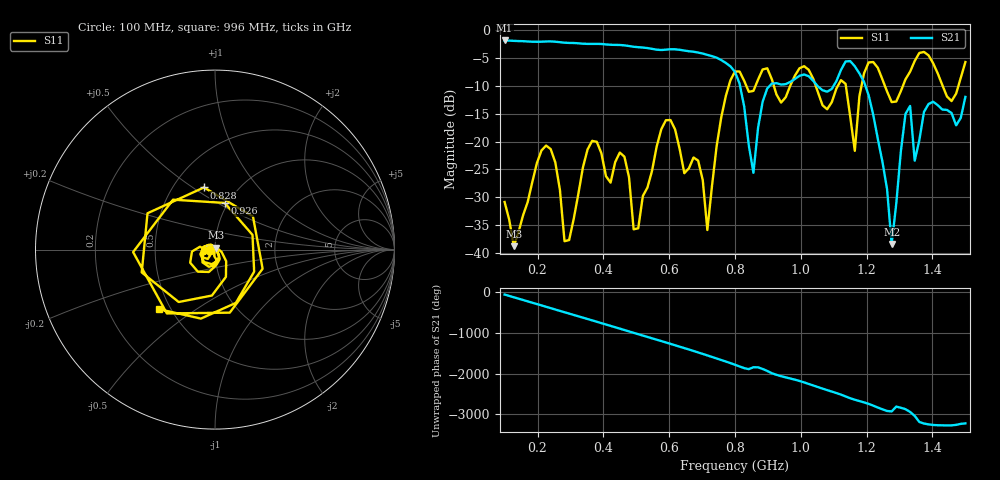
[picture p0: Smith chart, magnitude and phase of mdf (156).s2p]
! NanoVNA-App
! Date: 2025-09-25 15:39:38
! Start: 100MHz Stop: 1,5GHz Points: 101
! S-Parameter data: F S11 S21 S12 S22
# Hz S RI R 50
!  Frequency  S11_Real  S11_Imag  S21_Real  S21_Imag  S12_Real  S12_Imag  S22_Real  S22_Imag
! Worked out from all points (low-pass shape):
!   101 points, 100 MHz to 1.5 GHz, reference 50 ohm
!   highest |S21| = -1.81 dB at 100 MHz (marker M1); lowest = -38.4 dB at 1.276 GHz (marker M2)
!   |S21| within 3 dB of the highest: start of sweep to 739.1 MHz
!   lowest |S11| = -38.8 dB at 128 MHz (marker M3), VSWR 1.02, Z = 50.4 + j1.09 ohm
!   |S11| at or under -10 dB: start of sweep to 781 MHz; 1.045 GHz to 1.112 GHz (66.94 MHz wide, 6.2 % of centre); 1.256 GHz to 1.31 GHz (54.42 MHz wide, 4.24 % of centre) (the widest 3 of 7)
!   S12 and S22 are empty: the file has one direction only
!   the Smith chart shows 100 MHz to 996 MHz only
!   S11 on the Smith chart (normalised r, x): 100 MHz: 0.94, -0.01; 828 MHz: 0.70, +0.56; 926 MHz: 0.97, +0.54; 996 MHz: 0.43, -0.36
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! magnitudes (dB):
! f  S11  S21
! 100 MHz  -30.9  -1.8
! 128 MHz  -38.8  -1.9
! 212 MHz  -21.6  -2.0
! 282 MHz  -37.9  -2.2
! 338 MHz  -24.6  -2.4
! 464 MHz  -22.7  -2.7
! 506 MHz  -35.6  -3.0
! 576 MHz  -17.8  -3.5
! 716 MHz  -35.9  -4.4
! 800 MHz  -7.4  -7.5
! 828 MHz  -9.1  -13.7
! 856 MHz  -10.9  -25.6
! 926 MHz  -11.5  -9.5
! 996 MHz  -6.8  -8.2
! 1.038 GHz  -8.7  -9.1
! 1.136 GHz  -9.6  -5.6
! 1.164 GHz  -21.7  -6.5
! 1.192 GHz  -7.7  -9.2
! 1.276 GHz  -12.9  -38.4
! 1.318 GHz  -8.8  -15.0
! 1.346 GHz  -5.5  -23.4
! 1.5 GHz  -5.7  -12.0
